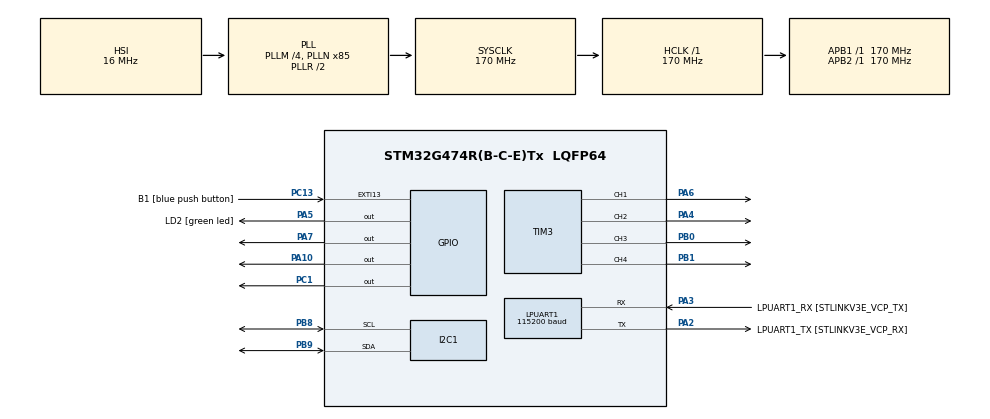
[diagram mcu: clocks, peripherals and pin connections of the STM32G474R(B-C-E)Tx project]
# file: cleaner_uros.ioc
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ARM.CMSIS-DSP.1.15.0.CMSISJjDSP=Source
ARM.CMSIS.6.0.0.CMSISJjCORE=true
Dma.I2C1_RX.2.Direction=DMA_PERIPH_TO_MEMORY
Dma.I2C1_RX.2.EventEnable=DISABLE
Dma.I2C1_RX.2.Instance=DMA1_Channel3
Dma.I2C1_RX.2.MemDataAlignment=DMA_MDATAALIGN_BYTE
Dma.I2C1_RX.2.MemInc=DMA_MINC_ENABLE
Dma.I2C1_RX.2.Mode=DMA_NORMAL
Dma.I2C1_RX.2.PeriphDataAlignment=DMA_PDATAALIGN_BYTE
Dma.I2C1_RX.2.PeriphInc=DMA_PINC_DISABLE
Dma.I2C1_RX.2.Polarity=HAL_DMAMUX_REQ_GEN_RISING
Dma.I2C1_RX.2.Priority=DMA_PRIORITY_LOW
Dma.I2C1_RX.2.RequestNumber=1
Dma.I2C1_RX.2.SignalID=NONE
Dma.I2C1_RX.2.SyncEnable=DISABLE
Dma.I2C1_RX.2.SyncPolarity=HAL_DMAMUX_SYNC_NO_EVENT
Dma.I2C1_RX.2.SyncRequestNumber=1
Dma.I2C1_RX.2.SyncSignalID=NONE
Dma.I2C1_TX.3.Direction=DMA_MEMORY_TO_PERIPH
Dma.I2C1_TX.3.EventEnable=DISABLE
Dma.I2C1_TX.3.Instance=DMA1_Channel4
Dma.I2C1_TX.3.MemDataAlignment=DMA_MDATAALIGN_BYTE
Dma.I2C1_TX.3.MemInc=DMA_MINC_ENABLE
Dma.I2C1_TX.3.Mode=DMA_NORMAL
Dma.I2C1_TX.3.PeriphDataAlignment=DMA_PDATAALIGN_BYTE
Dma.I2C1_TX.3.PeriphInc=DMA_PINC_DISABLE
Dma.I2C1_TX.3.Polarity=HAL_DMAMUX_REQ_GEN_RISING
Dma.I2C1_TX.3.Priority=DMA_PRIORITY_LOW
Dma.I2C1_TX.3.RequestNumber=1
Dma.I2C1_TX.3.SignalID=NONE
Dma.I2C1_TX.3.SyncEnable=DISABLE
Dma.I2C1_TX.3.SyncPolarity=HAL_DMAMUX_SYNC_NO_EVENT
Dma.I2C1_TX.3.SyncRequestNumber=1
Dma.I2C1_TX.3.SyncSignalID=NONE
Dma.LPUART1_RX.1.Direction=DMA_PERIPH_TO_MEMORY
Dma.LPUART1_RX.1.EventEnable=DISABLE
Dma.LPUART1_RX.1.Instance=DMA1_Channel2
Dma.LPUART1_RX.1.MemDataAlignment=DMA_MDATAALIGN_BYTE
Dma.LPUART1_RX.1.MemInc=DMA_MINC_ENABLE
Dma.LPUART1_RX.1.Mode=DMA_CIRCULAR
Dma.LPUART1_RX.1.PeriphDataAlignment=DMA_PDATAALIGN_BYTE
Dma.LPUART1_RX.1.PeriphInc=DMA_PINC_DISABLE
Dma.LPUART1_RX.1.Polarity=HAL_DMAMUX_REQ_GEN_RISING
Dma.LPUART1_RX.1.Priority=DMA_PRIORITY_VERY_HIGH
Dma.LPUART1_RX.1.RequestNumber=1
Dma.LPUART1_RX.1.SignalID=NONE
Dma.LPUART1_RX.1.SyncEnable=DISABLE
Dma.LPUART1_RX.1.SyncPolarity=HAL_DMAMUX_SYNC_NO_EVENT
Dma.LPUART1_RX.1.SyncRequestNumber=1
Dma.LPUART1_RX.1.SyncSignalID=NONE
Dma.LPUART1_TX.0.Direction=DMA_MEMORY_TO_PERIPH
Dma.LPUART1_TX.0.EventEnable=DISABLE
Dma.LPUART1_TX.0.Instance=DMA1_Channel1
Dma.LPUART1_TX.0.MemDataAlignment=DMA_MDATAALIGN_BYTE
Dma.LPUART1_TX.0.MemInc=DMA_MINC_ENABLE
Dma.LPUART1_TX.0.Mode=DMA_NORMAL
Dma.LPUART1_TX.0.PeriphDataAlignment=DMA_PDATAALIGN_BYTE
Dma.LPUART1_TX.0.PeriphInc=DMA_PINC_DISABLE
Dma.LPUART1_TX.0.Polarity=HAL_DMAMUX_REQ_GEN_RISING
Dma.LPUART1_TX.0.Priority=DMA_PRIORITY_VERY_HIGH
Dma.LPUART1_TX.0.RequestNumber=1
Dma.LPUART1_TX.0.SignalID=NONE
Dma.LPUART1_TX.0.SyncEnable=DISABLE
Dma.LPUART1_TX.0.SyncPolarity=HAL_DMAMUX_SYNC_NO_EVENT
Dma.LPUART1_TX.0.SyncRequestNumber=1
Dma.LPUART1_TX.0.SyncSignalID=NONE
Dma.Request0=LPUART1_TX
Dma.Request1=LPUART1_RX
Dma.Request2=I2C1_RX
Dma.Request3=I2C1_TX
FREERTOS.Tasks01=defaultTask,24,3000,StartDefaultTask,As weak,NULL,Static,defaultTaskBuffer,defaultTaskControlBlock
FREERTOS.configENABLE_FPU=1
I2C1.Timing=0x40B285C2
LPUART1.BaudRate=115200
Mcu.Family=STM32G4
Mcu.Name=STM32G474R(B-C-E)Tx
Mcu.Package=LQFP64
NVIC.DMA1_Channel1_IRQn=true\:5\:0\:false\:false\:true\:true\:false\:true\:true
NVIC.DMA1_Channel2_IRQn=true\:5\:0\:false\:false\:true\:true\:false\:true\:true
NVIC.DMA1_Channel3_IRQn=true\:5\:0\:false\:false\:true\:true\:false\:true\:true
NVIC.DMA1_Channel4_IRQn=true\:5\:0\:false\:false\:true\:true\:false\:true\:true
NVIC.EXTI15_10_IRQn=true\:5\:0\:false\:false\:true\:true\:true\:true\:true
NVIC.I2C1_ER_IRQn=true\:5\:0\:false\:false\:true\:true\:true\:true\:true
NVIC.I2C1_EV_IRQn=true\:5\:0\:false\:false\:true\:true\:true\:true\:true
NVIC.LPUART1_IRQn=true\:5\:0\:false\:false\:true\:true\:true\:true\:true
NVIC.PriorityGroup=NVIC_PRIORITYGROUP_4
NVIC.TIM1_UP_TIM16_IRQn=true\:15\:0\:false\:false\:true\:false\:false\:true\:true
NVIC.TIM2_IRQn=true\:5\:0\:false\:false\:true\:true\:true\:true\:true
NVIC.TimeBase=TIM1_UP_TIM16_IRQn
NVIC.TimeBaseIP=TIM1
PA10.Signal=GPIO_Output
PA13.GPIO_Label=T_SWDIO
PA13.Signal=SYS_JTMS-SWDIO
PA14.GPIO_Label=T_SWCLK
PA14.Signal=SYS_JTCK-SWCLK
PA2.GPIO_Label=LPUART1_TX [STLINKV3E_VCP_RX]
PA2.Mode=Asynchronous
PA2.Signal=LPUART1_TX
PA3.GPIO_Label=LPUART1_RX [STLINKV3E_VCP_TX]
PA3.Mode=Asynchronous
PA3.Signal=LPUART1_RX
PA4.Signal=S_TIM3_CH2
PA5.GPIO_Label=LD2 [green led]
PA5.Signal=GPIO_Output
PA6.Signal=S_TIM3_CH1
PA7.Signal=GPIO_Output
PB0.Signal=S_TIM3_CH3
PB1.Signal=S_TIM3_CH4
PB3.GPIO_Label=T_SWO
PB3.Signal=SYS_JTDO-SWO
PB8-BOOT0.Mode=I2C
PB8-BOOT0.Signal=I2C1_SCL
PB9.Mode=I2C
PB9.Signal=I2C1_SDA
PC1.Signal=GPIO_Output
PC13.GPIO_Label=B1 [blue push button]
PC13.Signal=GPXTI13
PC14-OSC32_IN.GPIO_Label=RCC_OSC32_IN
PC14-OSC32_IN.Signal=RCC_OSC32_IN
PC15-OSC32_OUT.GPIO_Label=RCC_OSC32_OUT
PC15-OSC32_OUT.Signal=RCC_OSC32_OUT
PF0-OSC_IN.GPIO_Label=RCC_OSC_IN
PF0-OSC_IN.Signal=RCC_OSC_IN
PF1-OSC_OUT.GPIO_Label=RCC_OSC_OUT
PF1-OSC_OUT.Signal=RCC_OSC_OUT
ProjectManager.HeapSize=0x200
ProjectManager.StackSize=0x400
ProjectManager.TargetToolchain=STM32CubeIDE
RCC.ADC12Freq_Value=170000000
RCC.ADC345Freq_Value=170000000
RCC.AHBFreq_Value=170000000
RCC.APB1Freq_Value=170000000
RCC.APB1TimFreq_Value=170000000
RCC.APB2Freq_Value=170000000
RCC.APB2TimFreq_Value=170000000
RCC.CortexFreq_Value=170000000
RCC.EXTERNAL_CLOCK_VALUE=12288000
RCC.HCLKFreq_Value=170000000
RCC.HSE_VALUE=24000000
RCC.HSI48_VALUE=48000000
RCC.HSI_VALUE=16000000
RCC.LSE_VALUE=32768
RCC.PLLM=RCC_PLLM_DIV4
RCC.PLLN=85
RCC.RTCClockSelection=RCC_RTCCLKSOURCE_LSE
RCC.SYSCLKFreq_VALUE=170000000
RCC.SYSCLKSource=RCC_SYSCLKSOURCE_PLLCLK
RCC.USBFreq_Value=170000000
RCC.VCOOutputFreq_Value=340000000
SH.S_TIM3_CH1.0=TIM3_CH1,PWM Generation1 CH1
SH.S_TIM3_CH2.0=TIM3_CH2,PWM Generation2 CH2
SH.S_TIM3_CH3.0=TIM3_CH3,PWM Generation3 CH3
SH.S_TIM3_CH4.0=TIM3_CH4,PWM Generation4 CH4
TIM2.PeriodNoDither=99999
TIM2.Prescaler=169
TIM2.TIM_MasterOutputTrigger=TIM_TRGO_UPDATE
TIM3.Channel-PWM\ Generation1\ CH1=TIM_CHANNEL_1
TIM3.Channel-PWM\ Generation2\ CH2=TIM_CHANNEL_2
TIM3.Channel-PWM\ Generation3\ CH3=TIM_CHANNEL_3
TIM3.Channel-PWM\ Generation4\ CH4=TIM_CHANNEL_4
VP_ARM.CMSIS-DSP_VS_CMSISJjDSP_1.15.0_1.15.0.Mode=CMSISJjDSP
VP_ARM.CMSIS_VS_CMSISJjCORE_6.0.0_6.0.0.Mode=CMSISJjCORE
VP_FREERTOS_VS_CMSIS_V2.Mode=CMSIS_V2
VP_SYS_VS_DBSignals.Mode=DisableDeadBatterySignals
VP_SYS_VS_tim1.Mode=TIM1
VP_TIM2_VS_ClockSourceINT.Mode=Internal
board=NUCLEO-G474RE

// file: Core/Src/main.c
/* USER CODE BEGIN Header */
/**
 ******************************************************************************
 * @file           : main.c
 * @brief          : Main program body
 ******************************************************************************
 * @attention
 *
 * Copyright (c) 2025 STMicroelectronics.
 * All rights reserved.
 *
 * This software is licensed under terms that can be found in the LICENSE file
 * in the root directory of this software component.
 * If no LICENSE file comes with this software, it is provided AS-IS.
 *
 ******************************************************************************
 */
/* USER CODE END Header */
#include "main.h"
#include "cmsis_os.h"
#include "dma.h"
#include "i2c.h"
#include "usart.h"
#include "tim.h"
#include "gpio.h"

/* USER CODE BEGIN Includes */
#include <rcl/rcl.h>
#include <rcl/error_handling.h>
#include <rclc/rclc.h>
#include <rclc/executor.h>
#include <uxr/client/transport.h>
#include <rmw_microxrcedds_c/config.h>
#include <rmw_microros/rmw_microros.h>

#include <std_msgs/msg/int32.h>
#include <std_msgs/msg/int16.h>

#include <std_msgs/msg/multi_array_dimension.h>
#include <std_msgs/msg/multi_array_layout.h>
#include <std_msgs/msg/float64_multi_array.h>
#include <std_msgs/msg/float32_multi_array.h>
#include <geometry_msgs/msg/twist.h>

#include "config.h"
/* USER CODE END Includes */

/* USER CODE BEGIN PD */
#define EEPROM_ADDR 0b01000010
/* USER CODE END PD */

/* USER CODE BEGIN PM */
#define RCLSOFTCHECK(fn) if (fn != RCL_RET_OK) {};
/* USER CODE END PM */

/* USER CODE BEGIN PV */
rclc_support_t support;
rcl_allocator_t allocator;
rcl_node_t node;
rcl_init_options_t init_options;
rclc_executor_t executor;

rcl_timer_t timer;
const int timeout_ms = 10;
const unsigned int timer_period = RCL_MS_TO_NS(10);

rcl_publisher_t publisher;
rcl_subscription_t subscriber_interface;
rcl_subscription_t subscriber_encoder1;
rcl_subscription_t subscriber_encoder2;
std_msgs__msg__Float64MultiArray pub_msg;
std_msgs__msg__Float32MultiArray msg_interface;
std_msgs__msg__Int32 msg_encoder1;
std_msgs__msg__Int32 msg_encoder2;

uint8_t cmd_spin;
uint8_t cmd_mode;
uint16_t cmd_L_encoder;
uint16_t cmd_R_encoder;

uint16_t L_encoder;
uint16_t R_encoder;
uint8_t loadcell;
uint8_t U_proximity;
uint8_t D_proximity;

uint16_t cmd_vel1;
uint16_t cmd_vel2;
uint16_t pump_timer;

/* USER CODE END PV */

void SystemClock_Config(void);
void MX_FREERTOS_Init(void);
/* USER CODE BEGIN PFP */
bool cubemx_transport_open(struct uxrCustomTransport *transport);
bool cubemx_transport_close(struct uxrCustomTransport *transport);
size_t cubemx_transport_write(struct uxrCustomTransport *transport,
		const uint8_t *buf, size_t len, uint8_t *err);
size_t cubemx_transport_read(struct uxrCustomTransport *transport, uint8_t *buf,
		size_t len, int timeout, uint8_t *err);

void* microros_allocate(size_t size, void *state);
void microros_deallocate(void *pointer, void *state);
void* microros_reallocate(void *pointer, size_t size, void *state);
void* microros_zero_allocate(size_t number_of_elements, size_t size_of_element,
		void *state);

void setup_io();
uint16_t read_encoder_data(uint8_t EEPROM_ADR, uint16_t len);
void move_brush_manual();
void move_brush_auto();
void spin_brush();
void pump_water();
/* USER CODE END PFP */

/* USER CODE BEGIN 0 */
void timer_callback(rcl_timer_t *timer, int64_t last_call_time) {
	if (timer != NULL) {
		// Sync micro-ROS session
		rmw_uros_sync_session(timeout_ms);

		// brush encoder
		L_encoder = read_encoder_data(0b01000000, 1);
		R_encoder = read_encoder_data(0b01000010, 1);

		// Left highest 950 lowest 1000
		// Right highest 427 lowest 235

		if (cmd_L_encoder < 950 || cmd_L_encoder > 1000) {
			cmd_L_encoder = 950;
		}
		if (cmd_R_encoder < 235 || cmd_R_encoder > 427) {
			cmd_R_encoder = 427;
		}

		// loadcell
		// loadcell = HAL_GPIO_ReadPin(GPIOx, GPIO_Pin);

		// proximity
		// U_proximity = HAL_GPIO_ReadPin(GPIOx, GPIO_Pin);
		// D_proximity = HAL_GPIO_ReadPin(GPIOx, GPIO_Pin);

//		if (cmd_mode == 0) {
//			BrushUpDownMaunal();
//		}
//		else if (cmd_mode == 1) {
//			BrushUpDownAuto();
//		}

		if (cmd_spin == 1) {
			spin_brush();
		}

		// Prepare and publish multi-array message with motor data
		if (pub_msg.data.data != NULL) {
			pub_msg.data.data[0] = L_encoder;
			pub_msg.data.data[1] = R_encoder;
			pub_msg.data.data[2] = loadcell;
			pub_msg.data.data[3] = U_proximity;
			pub_msg.data.data[4] = D_proximity;

			// Publish the multi-array message
			RCLSOFTCHECK(rcl_publish(&publisher, &pub_msg, NULL));
		}

//		L_encoder_msg.data = R_encoder;
//		R_encoder_msg.data = L_encoder;
//		rcl_publish(&L_encoder_pub, &L_encoder_msg, NULL);
//		rcl_publish(&R_encoder_pub, &R_encoder_msg, NULL);

		// Reinitialize watchdog timer
//		HAL_IWDG_Init(&hiwdg);
	}
}

void subscription_callback_interface(const void * msgin)
{
	const std_msgs__msg__Float32MultiArray * msg = (const std_msgs__msg__Float32MultiArray*)msgin;
	cmd_spin = msg->data.data[3];
	cmd_mode = msg->data.data[4];
	cmd_L_encoder = msg->data.data[5];
	cmd_R_encoder = msg->data.data[6];
}

void StartDefaultTask(void *argument) {

	// micro-ROS configuration
	rmw_uros_set_custom_transport(
	true, (void*) &hlpuart1, cubemx_transport_open, cubemx_transport_close,
			cubemx_transport_write, cubemx_transport_read);

	rcl_allocator_t freeRTOS_allocator =
			rcutils_get_zero_initialized_allocator();
	freeRTOS_allocator.allocate = microros_allocate;
	freeRTOS_allocator.deallocate = microros_deallocate;
	freeRTOS_allocator.reallocate = microros_reallocate;
	freeRTOS_allocator.zero_allocate = microros_zero_allocate;

	if (!rcutils_set_default_allocator(&freeRTOS_allocator)) {
		printf("Error on default allocators (line %d)\n", __LINE__);
	}

	allocator = rcl_get_default_allocator();

	//create init_options
	init_options = rcl_get_zero_initialized_init_options();
	RCLSOFTCHECK(rcl_init_options_init(&init_options, allocator));
	RCLSOFTCHECK(rcl_init_options_set_domain_id(&init_options, 99));

	rclc_support_init_with_options(&support, 0, NULL, &init_options,
			&allocator);

	// create node
	rclc_node_init_default(&node, "cleaner_node", "", &support);

	pub_msg.layout.dim.capacity = 1;
	pub_msg.layout.dim.size = 1;
	pub_msg.layout.dim.data = malloc(
			sizeof(std_msgs__msg__MultiArrayDimension) * 1);

	pub_msg.layout.dim.data[0].label.data = malloc(10);
	pub_msg.layout.dim.data[0].label.capacity = 10;
	pub_msg.layout.dim.data[0].label.size = strlen("mani_data");
	strcpy(pub_msg.layout.dim.data[0].label.data, "mani_data");

	pub_msg.layout.data_offset = 0;

	pub_msg.data.capacity = 5;
	pub_msg.data.size = 5;
	pub_msg.data.data = malloc(5 * sizeof(double));

	// create publisher
	rclc_publisher_init_default(&publisher, &node,
			ROSIDL_GET_MSG_TYPE_SUPPORT(std_msgs, msg, Float64MultiArray),
			"manipulator");

	// Create subscriber
//	rclc_subscription_init_best_effort(&subscriber_interface, &node,
//			ROSIDL_GET_MSG_TYPE_SUPPORT(std_msgs, msg, Float32MultiArray), " ");//

	// create timer
	rclc_timer_init_default(&timer, &support, timer_period, timer_callback);

	// create executor
	executor = rclc_executor_get_zero_initialized_executor();
	rclc_executor_init(&executor, &support.context, 2, &allocator); // total number of handles = #subscriptions + #timers
	rclc_executor_add_timer(&executor, &timer);
//	rclc_executor_add_subscription(&executor, &subscriber_interface, &msg_interface, subscription_callback_interface, ON_NEW_DATA);
	rclc_executor_spin(&executor);
}
/* USER CODE END 0 */

int main(void)
{

  /* MCU Configuration--------------------------------------------------------*/

  /* Reset of all peripherals, Initializes the Flash interface and the Systick. */
  HAL_Init();

  /* Configure the system clock */
  SystemClock_Config();

  /* Initialize all configured peripherals */
  MX_GPIO_Init();
  MX_DMA_Init();
  MX_LPUART1_UART_Init();
  MX_I2C1_Init();
  MX_TIM2_Init();
  MX_TIM3_Init();
  /* USER CODE BEGIN 2 */
	setup_io();
	cleaner_begin();
  /* USER CODE END 2 */

  /* Init scheduler */
  osKernelInitialize();

  /* Call init function for freertos objects (in cmsis_os2.c) */
  MX_FREERTOS_Init();

  /* Start scheduler */
  osKernelStart();

  /* We should never get here as control is now taken by the scheduler */

  /* Infinite loop */
	while (1) {

	}
}

void SystemClock_Config(void)
{
  RCC_OscInitTypeDef RCC_OscInitStruct = {0};
  RCC_ClkInitTypeDef RCC_ClkInitStruct = {0};

  /** Configure the main internal regulator output voltage
  */
  HAL_PWREx_ControlVoltageScaling(PWR_REGULATOR_VOLTAGE_SCALE1_BOOST);

  /** Initializes the RCC Oscillators according to the specified parameters
  * in the RCC_OscInitTypeDef structure.
  */
  RCC_OscInitStruct.OscillatorType = RCC_OSCILLATORTYPE_HSI;
  RCC_OscInitStruct.HSIState = RCC_HSI_ON;
  RCC_OscInitStruct.HSICalibrationValue = RCC_HSICALIBRATION_DEFAULT;
  RCC_OscInitStruct.PLL.PLLState = RCC_PLL_ON;
  RCC_OscInitStruct.PLL.PLLSource = RCC_PLLSOURCE_HSI;
  RCC_OscInitStruct.PLL.PLLM = RCC_PLLM_DIV4;
  RCC_OscInitStruct.PLL.PLLN = 85;
  RCC_OscInitStruct.PLL.PLLP = RCC_PLLP_DIV2;
  RCC_OscInitStruct.PLL.PLLQ = RCC_PLLQ_DIV2;
  RCC_OscInitStruct.PLL.PLLR = RCC_PLLR_DIV2;
  if (HAL_RCC_OscConfig(&RCC_OscInitStruct) != HAL_OK)
  {
    Error_Handler();
  }

  /** Initializes the CPU, AHB and APB buses clocks
  */
  RCC_ClkInitStruct.ClockType = RCC_CLOCKTYPE_HCLK|RCC_CLOCKTYPE_SYSCLK
                              |RCC_CLOCKTYPE_PCLK1|RCC_CLOCKTYPE_PCLK2;
  RCC_ClkInitStruct.SYSCLKSource = RCC_SYSCLKSOURCE_PLLCLK;
  RCC_ClkInitStruct.AHBCLKDivider = RCC_SYSCLK_DIV1;
  RCC_ClkInitStruct.APB1CLKDivider = RCC_HCLK_DIV1;
  RCC_ClkInitStruct.APB2CLKDivider = RCC_HCLK_DIV1;

  if (HAL_RCC_ClockConfig(&RCC_ClkInitStruct, FLASH_LATENCY_4) != HAL_OK)
  {
    Error_Handler();
  }
}

/* USER CODE BEGIN 4 */
void setup_io() {
	if (hi2c1.State == HAL_I2C_STATE_READY) {
		uint8_t dirB = 0x00;
		uint8_t dirA = 0xFF;
		HAL_I2C_Mem_Write(&hi2c1, EEPROM_ADDR, 0x01, I2C_MEMADD_SIZE_8BIT,
				&dirB, 1, 100);  // IODIRB
		HAL_I2C_Mem_Write(&hi2c1, EEPROM_ADDR, 0x00, I2C_MEMADD_SIZE_8BIT,
				&dirA, 1, 100);  // IODIRA
	}
}

uint16_t read_encoder_data(uint8_t EEPROM_ADR, uint16_t len) {
	if (hi2c1.State == HAL_I2C_STATE_READY) {
		uint8_t lowbyte;
		uint8_t highbyte;
		uint16_t data_encoder;

		HAL_I2C_Mem_Read_IT(&hi2c1, EEPROM_ADR, 0x12, I2C_MEMADD_SIZE_8BIT, &lowbyte, len);
		HAL_Delay(1);
		HAL_I2C_Mem_Read_IT(&hi2c1, EEPROM_ADR, 0x13, I2C_MEMADD_SIZE_8BIT, &highbyte, len);
		HAL_Delay(1);

		lowbyte = ~lowbyte;
		highbyte = ~highbyte;
		data_encoder = (highbyte >> 4 & 0b1) * 1000 + (highbyte & 0b1111) * 100
				+ (lowbyte >> 4 & 0b1111) * 10 + (lowbyte & 0b1111);
		return data_encoder;
	}
	HAL_Delay(1);
}

void move_brush_manual() {
	cmd_vel1 = PWM_Satuation(PID_CONTROLLER_Compute(&pid1, cmd_L_encoder - L_encoder),
			65535, -65535);
	cmd_vel2 = PWM_Satuation(PID_CONTROLLER_Compute(&pid2, cmd_R_encoder - R_encoder),
			65535, -65535);
	MDXX_set_range(&motor1, 2000, cmd_vel1);
	MDXX_set_range(&motor2, 2000, cmd_vel2);
}

void move_brush_auto() {

}

void spin_brush() {
	MDXX_set_range(&motor3, 2000, 30000);
}

void pump_water() {
	if (U_proximity == 0 && D_proximity == 0) {
		// start pump (move hose down)
		if(pump_timer < 1000)
		{
			MDXX_set_range(&motor4, 2000, 30000);
			pump_timer++;
		}
		else {
			MDXX_set_range(&motor4, 2000, 0);
		}
	}

	if (U_proximity == 1 && D_proximity == 1) {
		// stop pump (move hose up)
		if(pump_timer < 1000)
		{
			MDXX_set_range(&motor4, 2000, -30000);
			pump_timer++;
		}
		else {
			MDXX_set_range(&motor4, 2000, 0);
			pump_timer = 0;
		}
	}
}
/* USER CODE END 4 */

void HAL_TIM_PeriodElapsedCallback(TIM_HandleTypeDef *htim)
{
  if (htim->Instance == TIM1)
  {
    HAL_IncTick();
  }
  /* USER CODE BEGIN Callback 1 */
		if (htim == &htim2) {

		}
  /* USER CODE END Callback 1 */
}

void Error_Handler(void)
{
		__disable_irq();
		while (1) {
		}
}
